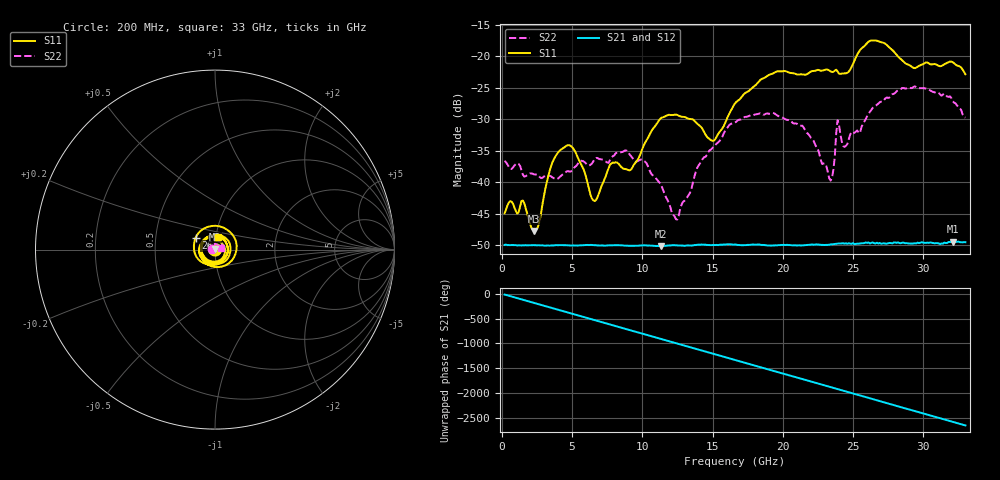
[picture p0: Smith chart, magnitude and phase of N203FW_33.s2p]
# GHZ S RI R 50
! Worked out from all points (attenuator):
!   329 points, 200 MHz to 33 GHz, reference 50 ohm
!   highest |S21| = -49.45 dB at 32.1 GHz (marker M1); lowest = -50.2 dB at 11.3 GHz (marker M2)
!   lowest |S11| = -47.7 dB at 2.3 GHz (marker M3), VSWR 1.01, Z = 50.1 + j0.386 ohm
!   |S11| at or under -10 dB: start of sweep to end of sweep
!   |S22| runs from -45.9 to -24.8 dB; largest |S21 - S12| = 8.7e-05
!   S11 on the Smith chart (normalised r, x): 200 MHz: 1.01, -0.00; 26 GHz: 0.80, +0.11; 33 GHz: 1.03, +0.14
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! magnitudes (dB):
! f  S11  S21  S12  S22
! 200 MHz  -44.9  -50.0  -49.9  -36.6
! 1.5 GHz  -42.9  -50.0  -50.0  -38.8
! 2.3 GHz  -47.7  -50.0  -50.0  -38.8
! 4 GHz  -35.3  -50.0  -50.0  -39.5
! 5.7 GHz  -37.4  -50.0  -50.0  -36.6
! 6.7 GHz  -42.9  -50.0  -50.0  -36.2
! 7.7 GHz  -37.2  -50.0  -50.0  -36.5
! 8.9 GHz  -38.0  -50.1  -50.1  -35.0
! 11.2 GHz  -30.2  -50.2  -50.1  -40.0
! 11.3 GHz  -29.9  -50.2  -50.1  -40.3
! 12.5 GHz  -29.4  -50.1  -50.0  -45.9
! 15 GHz  -33.5  -50.0  -50.0  -34.6
! 16.6 GHz  -27.5  -49.9  -49.9  -30.6
! 19.3 GHz  -22.8  -50.1  -50.1  -29.0
! 22.1 GHz  -22.4  -49.9  -49.9  -33.1
! 23.4 GHz  -22.4  -49.9  -49.9  -39.8
! 23.9 GHz  -22.4  -49.8  -49.8  -30.2
! 24.4 GHz  -22.8  -49.8  -49.7  -34.4
! 26 GHz  -17.9  -49.6  -49.6  -29.6
! 27.6 GHz  -18.7  -49.7  -49.7  -26.6
! 32.1 GHz  -21.0  -49.4  -49.4  -27.2
! 33 GHz  -22.9  -49.5  -49.6  -29.8
